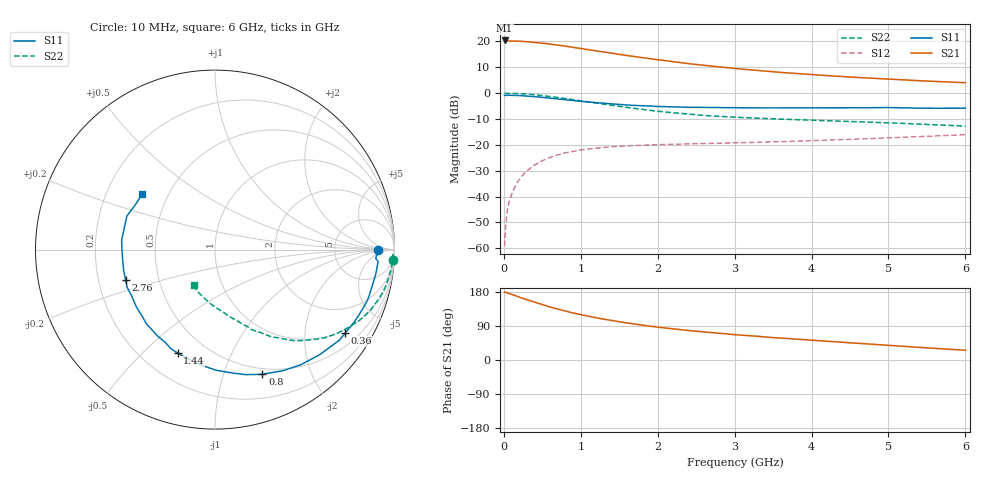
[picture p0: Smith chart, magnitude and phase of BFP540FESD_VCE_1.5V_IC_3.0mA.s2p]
! Infineon Technologies  Discrete & RF Semiconductors
! BFP540FESD
! VCE =  1.5 V,  IC =  3.0 mA
! Common Emitter S-Parameters:  Nov 2015
# GHz  S  MA  R  50
!  f  S11  S21  S12  S22
! GHz  MAG  ANG  MAG  ANG  MAG  ANG  MAG  ANG
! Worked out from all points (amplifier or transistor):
!   210 points, 10 MHz to 6 GHz, reference 50 ohm
!   highest |S21| = 20.3 dB at 10 MHz (marker M1)
!   |S21| within 3 dB of that: start of sweep to 976.7 MHz
!   unconditionally stable (mu >= 1): 3.091 GHz to end of sweep
!   at 185 MHz: K = 0.05, MSG = 27.1 dB, |S12| = -34.1 dB
!   at 1.52 GHz: K = 0.47, MSG = 17.7 dB, |S12| = -20.5 dB
!   at 6 GHz: K = 1.43, MAG = 6.2 dB, |S12| = -16.1 dB
!   S11 on the Smith chart (normalised r, x): 10 MHz: 21, -0; 360 MHz: 0.89, -3.20; 800 MHz: 0.44, -1.36; 1.44 GHz: 0.35, -0.64; 2.76 GHz: 0.32, -0.15; 6 GHz: 0.36, +0.30
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0.01  0.9099 -0.1  10.4 179.1  0.0011 97.9  0.9951 -3.4
0.02  0.8968 -3.1  10.08 178.8  0.0023 80.8  0.9902 -1.1
0.05  0.9113 -4.2  10.17 176.8  0.0059 92.1  0.9915 -2.8
0.09  0.9066 -7.9  10.16 174.0  0.0099 86.6  0.9888 -5.0
0.15  0.8984 -14.2  10.18 169.9  0.0161 84.1  0.983 -8.2
0.3  0.8746 -27.5  9.858 159.1  0.0312 76.0  0.9557 -16.2
0.36  0.8618 -32.6  9.671 155.2  0.0369 72.4  0.9389 -19.3
0.5  0.8267 -45.0  9.279 146.0  0.0495 66.1  0.8956 -26.2
0.6  0.8 -53.4  8.848 139.8  0.0567 61.8  0.8589 -30.5
0.8  0.7432 -69.2  8.084 129.0  0.0701 53.6  0.7835 -38.9
0.9  0.7177 -76.1  7.667 124.0  0.0749 51.2  0.7452 -42.2
1.02  0.6873 -84.0  7.201 118.9  0.0802 47.6  0.7032 -46.0
1.2  0.6496 -96.2  6.528 111.3  0.0859 43.0  0.642 -51.4
1.44  0.612 -109.9  5.785 102.8  0.0926 38.4  0.5705 -57.7
1.72  0.5759 -124.4  5.038 94.1  0.0972 34.2  0.501 -64.2
2.02  0.5495 -137.8  4.388 86.2  0.1009 31.2  0.4434 -69.8
2.4  0.5312 -151.0  3.711 77.9  0.1044 28.6  0.3946 -75.9
2.76  0.5255 -161.2  3.248 71.3  0.1076 27.6  0.3574 -81.5
3.1  0.5197 -169.3  2.904 65.4  0.11 26.9  0.3364 -85.7
4.1  0.5214 172.8  2.226 50.9  0.1216 26.8  0.2954 -96.6
5.1  0.5213 157.5  1.831 37.4  0.1381 25.6  0.2627 -108.0
6  0.5104 143.0  1.589 25.7  0.1567 23.7  0.2304 -120.9
